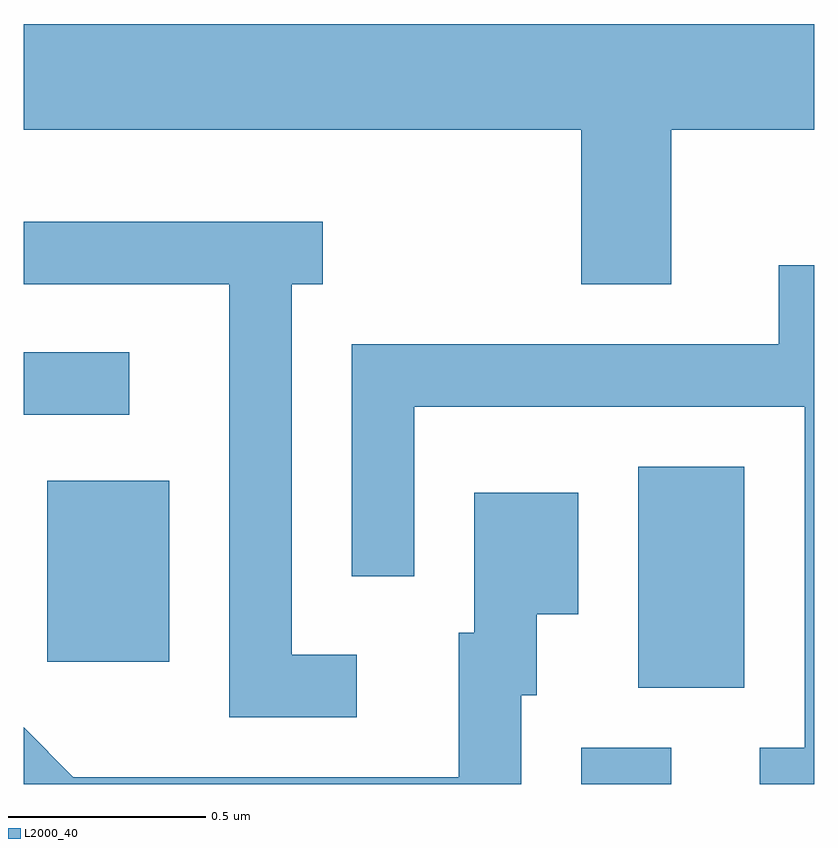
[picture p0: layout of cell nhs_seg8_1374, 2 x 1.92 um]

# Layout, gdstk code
import gdstk
lib = gdstk.Library(unit=1e-6, precision=1e-09)
def R(c, l, rs):  # rectangles x0, y0, x1, y1
    for r in rs: c.add(gdstk.rectangle(r[:2], r[2:], *l))
def P(c, l, *ps):  # polygons
    for p in ps: c.add(gdstk.Polygon(p, *l))
L2000_40 = (2000, 40)

nhs_seg8_1374 = lib.new_cell('nhs_seg8_1374')
R(nhs_seg8_1374, L2000_40, [(197.021,1810.342,197.249,1810.434), (197.166,1810.586,197.434,1811.144), (195.671,1810.651,195.979,1811.109), (195.611,1811.276,195.878,1811.434)])
P(nhs_seg8_1374, L2000_40, [(197.249,1811.996),(197.611,1811.996),(197.611,1812.264),(195.611,1812.264),(195.611,1811.996),(197.021,1811.996),(197.021,1811.606),(197.249,1811.606)],
  [(196.453,1810.669),(196.289,1810.669),(196.289,1811.606),(196.368,1811.606),(196.368,1811.764),(195.611,1811.764),(195.611,1811.606),(196.131,1811.606),(196.131,1810.511),(196.453,1810.511)],
  [(197.611,1811.654),(197.521,1811.654),(197.521,1811.454),(196.441,1811.454),(196.441,1810.868),(196.599,1810.868),(196.599,1811.296),(197.586,1811.296),(197.586,1810.434),(197.473,1810.434),(197.473,1810.342),(197.611,1810.342)],
  [(196.869,1810.566),(196.909,1810.566),(196.909,1810.771),(197.014,1810.771),(197.014,1811.079),(196.751,1811.079),(196.751,1810.724),(196.711,1810.724),(196.711,1810.359),(195.737,1810.359),(195.611,1810.485),(195.611,1810.342),(196.869,1810.342)])

lib.write_gds('nhs_seg8_1374.gds')
